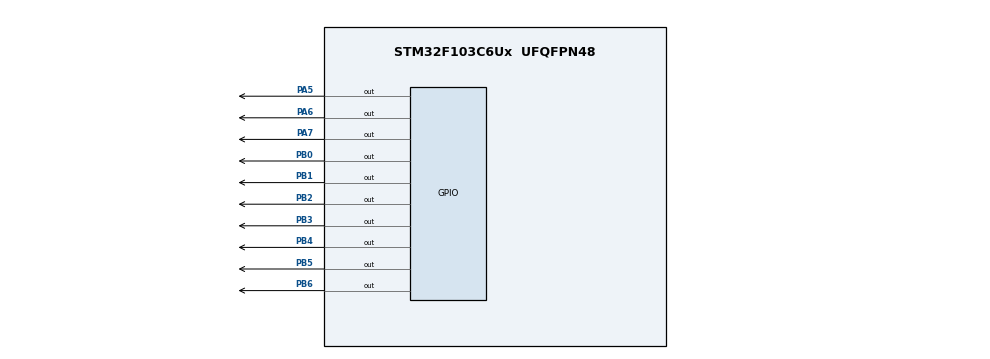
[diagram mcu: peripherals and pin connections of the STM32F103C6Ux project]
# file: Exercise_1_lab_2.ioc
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Mcu.Family=STM32F1
Mcu.Name=STM32F103C6Ux
Mcu.Package=UFQFPN48
NVIC.PriorityGroup=NVIC_PRIORITYGROUP_4
NVIC.TIM2_IRQn=true\:0\:0\:false\:false\:true\:true\:true
PA5.Signal=GPIO_Output
PA6.Signal=GPIO_Output
PA7.Signal=GPIO_Output
PB0.Signal=GPIO_Output
PB1.Signal=GPIO_Output
PB2.Signal=GPIO_Output
PB3.Signal=GPIO_Output
PB4.Signal=GPIO_Output
PB5.Signal=GPIO_Output
PB6.Signal=GPIO_Output
ProjectManager.HeapSize=0x200
ProjectManager.StackSize=0x400
ProjectManager.TargetToolchain=STM32CubeIDE
RCC.APB1Freq_Value=8000000
RCC.APB2Freq_Value=8000000
TIM2.Period=9
TIM2.Prescaler=7999
VP_SYS_VS_ND.Mode=No_Debug
VP_TIM2_VS_ClockSourceINT.Mode=Internal
board=custom

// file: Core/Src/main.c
/* USER CODE BEGIN Header */
/**
  ******************************************************************************
  * @file           : main.c
  * @brief          : Main program body
  ******************************************************************************
  */
/* USER CODE END Header */

#include "main.h"

TIM_HandleTypeDef htim2;

/* USER CODE BEGIN PV */

GPIO_TypeDef *segPorts[7] =
{
    GPIOB, GPIOB, GPIOB,
    GPIOB, GPIOB, GPIOB, GPIOB
};

uint16_t segPins[7] =
{
    GPIO_PIN_0,
    GPIO_PIN_1,
    GPIO_PIN_2,
    GPIO_PIN_3,
    GPIO_PIN_4,
    GPIO_PIN_5,
    GPIO_PIN_6
};

int delay = 50;
uint8_t display = 0;

/* USER CODE END PV */

void SystemClock_Config(void);
static void MX_TIM2_Init(void);
static void MX_GPIO_Init(void);

/* USER CODE BEGIN PFP */

void display7SEG(GPIO_TypeDef *ports[7], uint16_t pins[7], uint8_t num);

/* USER CODE END PFP */

int main(void)
{
  HAL_Init();

  SystemClock_Config();

  MX_TIM2_Init();
  MX_GPIO_Init();

  /* USER CODE BEGIN 2 */

  HAL_GPIO_WritePin(GPIOA, GPIO_PIN_6, GPIO_PIN_RESET); // EN0 OFF
  HAL_GPIO_WritePin(GPIOA, GPIO_PIN_7, GPIO_PIN_RESET); // EN1 OFF

  display7SEG(segPorts, segPins, 1);

  HAL_GPIO_WritePin(GPIOA, GPIO_PIN_6, GPIO_PIN_RESET);
  HAL_GPIO_WritePin(GPIOA, GPIO_PIN_7, GPIO_PIN_SET);

  HAL_TIM_Base_Start_IT(&htim2);

  /* USER CODE END 2 */

  while (1)
  {
  }
}

void SystemClock_Config(void)
{
  RCC_OscInitTypeDef RCC_OscInitStruct = {0};
  RCC_ClkInitTypeDef RCC_ClkInitStruct = {0};

  RCC_OscInitStruct.OscillatorType = RCC_OSCILLATORTYPE_HSI;
  RCC_OscInitStruct.HSIState = RCC_HSI_ON;
  RCC_OscInitStruct.HSICalibrationValue = RCC_HSICALIBRATION_DEFAULT;
  RCC_OscInitStruct.PLL.PLLState = RCC_PLL_NONE;

  if (HAL_RCC_OscConfig(&RCC_OscInitStruct) != HAL_OK)
  {
    Error_Handler();
  }

  RCC_ClkInitStruct.ClockType =
      RCC_CLOCKTYPE_HCLK |
      RCC_CLOCKTYPE_SYSCLK |
      RCC_CLOCKTYPE_PCLK1 |
      RCC_CLOCKTYPE_PCLK2;

  RCC_ClkInitStruct.SYSCLKSource = RCC_SYSCLKSOURCE_HSI;
  RCC_ClkInitStruct.AHBCLKDivider = RCC_SYSCLK_DIV1;
  RCC_ClkInitStruct.APB1CLKDivider = RCC_HCLK_DIV1;
  RCC_ClkInitStruct.APB2CLKDivider = RCC_HCLK_DIV1;

  if (HAL_RCC_ClockConfig(&RCC_ClkInitStruct, FLASH_LATENCY_0) != HAL_OK)
  {
    Error_Handler();
  }
}

static void MX_TIM2_Init(void)
{
  TIM_ClockConfigTypeDef sClockSourceConfig = {0};
  TIM_MasterConfigTypeDef sMasterConfig = {0};

  htim2.Instance = TIM2;
  htim2.Init.Prescaler = 7999;
  htim2.Init.CounterMode = TIM_COUNTERMODE_UP;
  htim2.Init.Period = 9;
  htim2.Init.ClockDivision = TIM_CLOCKDIVISION_DIV1;
  htim2.Init.AutoReloadPreload = TIM_AUTORELOAD_PRELOAD_DISABLE;

  if (HAL_TIM_Base_Init(&htim2) != HAL_OK)
  {
    Error_Handler();
  }

  sClockSourceConfig.ClockSource = TIM_CLOCKSOURCE_INTERNAL;

  if (HAL_TIM_ConfigClockSource(&htim2, &sClockSourceConfig) != HAL_OK)
  {
    Error_Handler();
  }

  sMasterConfig.MasterOutputTrigger = TIM_TRGO_RESET;
  sMasterConfig.MasterSlaveMode = TIM_MASTERSLAVEMODE_DISABLE;

  if (HAL_TIMEx_MasterConfigSynchronization(&htim2, &sMasterConfig) != HAL_OK)
  {
    Error_Handler();
  }
}

static void MX_GPIO_Init(void)
{
  GPIO_InitTypeDef GPIO_InitStruct = {0};

  __HAL_RCC_GPIOA_CLK_ENABLE();
  __HAL_RCC_GPIOB_CLK_ENABLE();

  HAL_GPIO_WritePin(
      GPIOA,
      GPIO_PIN_5 | GPIO_PIN_6 | GPIO_PIN_7,
      GPIO_PIN_RESET
  );

  HAL_GPIO_WritePin(
      GPIOB,
      GPIO_PIN_0 | GPIO_PIN_1 | GPIO_PIN_2 |
      GPIO_PIN_3 | GPIO_PIN_4 | GPIO_PIN_5 |
      GPIO_PIN_6,
      GPIO_PIN_RESET
  );

  GPIO_InitStruct.Pin =
      GPIO_PIN_5 | GPIO_PIN_6 | GPIO_PIN_7;

  GPIO_InitStruct.Mode = GPIO_MODE_OUTPUT_PP;
  GPIO_InitStruct.Pull = GPIO_NOPULL;
  GPIO_InitStruct.Speed = GPIO_SPEED_FREQ_LOW;

  HAL_GPIO_Init(GPIOA, &GPIO_InitStruct);

  GPIO_InitStruct.Pin =
      GPIO_PIN_0 | GPIO_PIN_1 | GPIO_PIN_2 |
      GPIO_PIN_3 | GPIO_PIN_4 | GPIO_PIN_5 |
      GPIO_PIN_6;

  GPIO_InitStruct.Mode = GPIO_MODE_OUTPUT_PP;
  GPIO_InitStruct.Pull = GPIO_NOPULL;
  GPIO_InitStruct.Speed = GPIO_SPEED_FREQ_LOW;

  HAL_GPIO_Init(GPIOB, &GPIO_InitStruct);
}

/* USER CODE BEGIN 4 */

void display7SEG(GPIO_TypeDef *ports[7],
                 uint16_t pins[7],
                 uint8_t num)
{
    uint8_t seg[10][7] =
    {
        {0,0,0,0,0,0,1}, // 0
        {1,0,0,1,1,1,1}, // 1
        {0,0,1,0,0,1,0}, // 2
        {0,0,0,0,1,1,0}, // 3
        {1,0,0,1,1,0,0}, // 4
        {0,1,0,0,1,0,0}, // 5
        {0,1,0,0,0,0,0}, // 6
        {0,0,0,1,1,1,1}, // 7
        {0,0,0,0,0,0,0}, // 8
        {0,0,0,0,1,0,0}  // 9
    };

    if (num > 9)
        return;

    for (int i = 0; i < 7; i++)
    {
        HAL_GPIO_WritePin(
            ports[i],
            pins[i],
            seg[num][i]
        );
    }
}

void HAL_TIM_PeriodElapsedCallback(TIM_HandleTypeDef *htim) {
    if (htim->Instance == TIM2) {
        delay--;
        if (delay <= 0) {
            delay = 50;
            if (display == 0) {
                HAL_GPIO_WritePin(GPIOA, GPIO_PIN_7, GPIO_PIN_RESET);
                display7SEG(segPorts, segPins, 2);
                HAL_GPIO_WritePin(GPIOA, GPIO_PIN_6, GPIO_PIN_SET);
                display = 1;
            }
            else {
                HAL_GPIO_WritePin(GPIOA, GPIO_PIN_6, GPIO_PIN_RESET);
                display7SEG( segPorts, segPins, 1);
                HAL_GPIO_WritePin(GPIOA, GPIO_PIN_7, GPIO_PIN_SET);
                display = 0;
            }
        }
    }
}

/* USER CODE END 4 */

void Error_Handler(void)
{
  __disable_irq();

  while (1)
  {
  }
}
